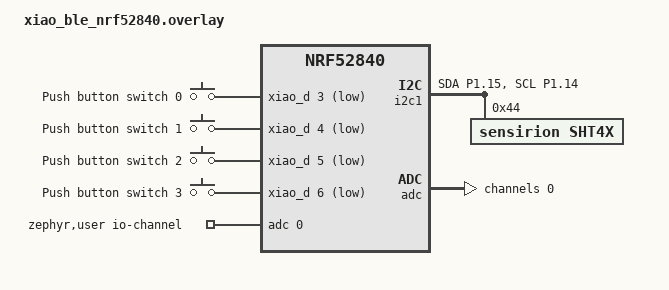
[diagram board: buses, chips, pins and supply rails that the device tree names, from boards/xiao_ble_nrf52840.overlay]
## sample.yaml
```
sample:
  description: Xiao Temperature Sensor sample
  name: Xiao Temperature Sensor
```

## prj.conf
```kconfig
#
# Copyright (c) 2021 Nordic Semiconductor ASA
#
# SPDX-License-Identifier: LicenseRef-Nordic-5-Clause
#

# This sample uses Kconfig.defaults to set options common for all
# samples. This file should contain only options specific for this sample
# or overrides of default values.

# Enable CHIP
CONFIG_CHIP=y
CONFIG_CHIP_PROJECT_CONFIG="src/chip_project_config.h"
CONFIG_CHIP_DEVICE_PRODUCT_NAME="Xiao Temperature Sensor"

# Configure ZAP file name
CONFIG_NCS_SAMPLE_MATTER_ZAP_FILE_PATH="${APPLICATION_CONFIG_DIR}/src/default_zap/template.zap"

# 32768 == 0x8000 (example Product ID added temporaly,
# but it must be changed with proper PID from the list:
# https://github.com/project-chip/connectedhomeip/blob/482e6fd03196a6de45465a90003947ef4b86e0b1/docs/examples/discussion/PID_allocation_for_example_apps.md)
CONFIG_CHIP_DEVICE_PRODUCT_ID=32768
CONFIG_STD_CPP17=y

# Enable Matter pairing automatically on application start.
CONFIG_CHIP_ENABLE_PAIRING_AUTOSTART=y

# Enable Matter extended announcement and increase duration to 1 hour.
CONFIG_CHIP_BLE_EXT_ADVERTISING=y
CONFIG_CHIP_BLE_ADVERTISING_DURATION=60

# Add support for LEDs and buttons on Nordic development kits
CONFIG_DK_LIBRARY=y

# Bluetooth Low Energy configuration
CONFIG_BT_DEVICE_NAME="MatterTemplate"

# Enable system reset on fatal error
CONFIG_RESET_ON_FATAL_ERROR=y

# Disable all debug features
CONFIG_USE_SEGGER_RTT=n
CONFIG_SHELL=n
CONFIG_OPENTHREAD_SHELL=n
CONFIG_CHIP_LIB_SHELL=n
CONFIG_CONSOLE=n
CONFIG_UART_CONSOLE=n
CONFIG_SERIAL=n
CONFIG_LOG=n
CONFIG_LOG_MODE_MINIMAL=n
CONFIG_ASSERT_VERBOSE=n
CONFIG_ASSERT_NO_FILE_INFO=y
CONFIG_PRINTK=n
CONFIG_PRINTK_SYNC=n
CONFIG_THREAD_NAME=n
CONFIG_BOOT_BANNER=n

# Disable NFC onboarding
CONFIG_CHIP_NFC_ONBOARDING_PAYLOAD=n

# Enable Factory Data feature
CONFIG_CHIP_FACTORY_DATA=y
CONFIG_CHIP_FACTORY_DATA_BUILD=y

# Enable Watchdog
CONFIG_NCS_SAMPLE_MATTER_WATCHDOG=y

# Enable LTO to decrease the flash usage.
CONFIG_LTO=y
CONFIG_ISR_TABLES_LOCAL_DECLARATION=y

# Enable I2C and Sensor APIs
CONFIG_I2C=y
CONFIG_SENSOR=y

# Driver for SHT4X
CONFIG_SHT4X=y

# ADC for measuring the battery (supply) voltage
CONFIG_ADC=y

# Persistent Subscriptions
CONFIG_CHIP_PERSISTENT_SUBSCRIPTIONS=y

# Status LED: blue LED blinks only while commissioning, off otherwise (see AppTask::UpdateStatusLED)
CONFIG_NCS_SAMPLE_MATTER_LEDS=y

# Configure Power Management
CONFIG_PM_DEVICE=y
CONFIG_RAM_POWER_DOWN_LIBRARY=y
CONFIG_POWEROFF=y

# Settings for ICD with LIT
CONFIG_OPENTHREAD_MTD=y
CONFIG_OPENTHREAD_NORDIC_LIBRARY_MTD=y

CONFIG_CHIP_ENABLE_ICD_SUPPORT=y
CONFIG_CHIP_ICD_LIT_SUPPORT=y

CONFIG_CHIP_ICD_IDLE_MODE_DURATION=900
CONFIG_CHIP_ICD_SLOW_POLL_INTERVAL=300000
CONFIG_CHIP_ICD_ACTIVE_MODE_DURATION=500
CONFIG_CHIP_ICD_ACTIVE_MODE_THRESHOLD=10000
CONFIG_CHIP_ICD_FAST_POLLING_INTERVAL=1000

CONFIG_CHIP_ICD_CLIENTS_PER_FABRIC=2
```

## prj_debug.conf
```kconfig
#
# Copyright (c) 2021 Nordic Semiconductor ASA
#
# SPDX-License-Identifier: LicenseRef-Nordic-5-Clause
#

# This sample uses Kconfig.defaults to set options common for all
# samples. This file should contain only options specific for this sample
# or overrides of default values.

# Enable CHIP
CONFIG_CHIP=y
CONFIG_CHIP_PROJECT_CONFIG="src/chip_project_config.h"
CONFIG_CHIP_DEVICE_PRODUCT_NAME="Xiao Temperature Sensor"

# Configure ZAP file name
CONFIG_NCS_SAMPLE_MATTER_ZAP_FILE_PATH="${APPLICATION_CONFIG_DIR}/src/default_zap/template.zap"

# 32768 == 0x8000 (example Product ID added temporaly,
# but it must be changed with proper PID from the list:
# https://github.com/project-chip/connectedhomeip/blob/482e6fd03196a6de45465a90003947ef4b86e0b1/docs/examples/discussion/PID_allocation_for_example_apps.md)
CONFIG_CHIP_DEVICE_PRODUCT_ID=32768
CONFIG_STD_CPP17=y

# Enable Matter pairing automatically on application start.
CONFIG_CHIP_ENABLE_PAIRING_AUTOSTART=y

# Enable Matter extended announcement and increase duration to 1 hour.
CONFIG_CHIP_BLE_EXT_ADVERTISING=y
CONFIG_CHIP_BLE_ADVERTISING_DURATION=60

# Add support for LEDs and buttons on Nordic development kits
CONFIG_DK_LIBRARY=y

# Bluetooth Low Energy configuration
CONFIG_BT_DEVICE_NAME="MatterTemplate"

# Other settings
CONFIG_THREAD_NAME=y
CONFIG_MPU_STACK_GUARD=y
CONFIG_RESET_ON_FATAL_ERROR=n
CONFIG_CHIP_LIB_SHELL=y
CONFIG_NCS_SAMPLE_MATTER_TEST_SHELL=y

# Disable NFC onboarding
CONFIG_CHIP_NFC_ONBOARDING_PAYLOAD=n

# Reduce application size
CONFIG_USE_SEGGER_RTT=n

# Enable Factory Data feature
CONFIG_CHIP_FACTORY_DATA=y
CONFIG_CHIP_FACTORY_DATA_BUILD=y

# Enable I2C and Sensor APIs
CONFIG_I2C=y
CONFIG_SENSOR=y

# Driver for SHT4X
CONFIG_SHT4X=y

# ADC for measuring the battery (supply) voltage
CONFIG_ADC=y

# Persistent Subscriptions
CONFIG_CHIP_PERSISTENT_SUBSCRIPTIONS=y
```

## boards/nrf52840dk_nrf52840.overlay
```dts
/*
 * Copyright (c) 2021 Nordic Semiconductor ASA
 *
 * SPDX-License-Identifier: LicenseRef-Nordic-5-Clause
 */

/ {
	chosen {
		nordic,pm-ext-flash = &mx25r64;
	};
};

/* Disable unused peripherals to reduce power consumption */
&adc {
	status = "disabled";
};
&uart1 {
	status = "disabled";
};
&i2c0 {
	status = "disabled";
};
&pwm0 {
	status = "disabled";
};
&spi1 {
	status = "disabled";
};
&spi3 {
	status = "disabled";
};
&usbd {
	status = "disabled";
};

&i2c1 {
	status = "okay";
	compatible = "nordic,nrf-twim";

	sht4x@44 {
		compatible = "sensirion,sht4x";
		repeatability = <2>;
		reg = <0x44>;
	};
};
```

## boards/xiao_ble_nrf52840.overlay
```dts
/ {

	buttons {

		compatible = "gpio-keys";

		button0: button_0 {
			gpios = <&xiao_d 3 (GPIO_PULL_UP | GPIO_ACTIVE_LOW)>;
			label = "Push button switch 0";
			zephyr,code = <INPUT_KEY_0>;

		};

		button1: button_1 {
			gpios = <&xiao_d 4 (GPIO_PULL_UP | GPIO_ACTIVE_LOW)>;
			label = "Push button switch 1";
			zephyr,code = <INPUT_KEY_1>;
		};

		button2: button_2 {
			gpios = <&xiao_d 5 (GPIO_PULL_UP | GPIO_ACTIVE_LOW)>;
			label = "Push button switch 2";
			zephyr,code = <INPUT_KEY_2>;
		};

		button3: button_3 {
			gpios = <&xiao_d 6 (GPIO_PULL_UP | GPIO_ACTIVE_LOW)>;
			label = "Push button switch 3";
			zephyr,code = <INPUT_KEY_3>;
		};

	};
};

&spi2 {
	status = "disabled";
};

/* Change the pin mappings on the xiao */
&pinctrl {
	i2c1_default: i2c1_default {
		group1 {
			psels = <NRF_PSEL(TWIM_SDA, 1, 15)>,
				<NRF_PSEL(TWIM_SCL, 1, 14)>;
		};
	};

	i2c1_sleep: i2c1_sleep {
		group1 {
			psels = <NRF_PSEL(TWIM_SDA, 1, 15)>,
				<NRF_PSEL(TWIM_SCL, 1, 14)>;
			low-power-enable;
		};
	};
};

&i2c1 {
	status = "okay";
	compatible = "nordic,nrf-twim";

    pinctrl-0 = <&i2c1_default>;
    pinctrl-1 = <&i2c1_sleep>;
    pinctrl-names = "default", "sleep";

	sht4x@44 {
		compatible = "sensirion,sht4x";
		repeatability = <2>;
		reg = <0x44>;
	};
};

/* Battery voltage: the AA batteries feed the 3V3 pin directly, so the
 * nRF52840's own supply voltage (VDD) is the battery voltage. It is measured
 * internally by the SAADC, no pins are used.
 */
/ {
	zephyr,user {
		io-channels = <&adc 0>;
	};
};

&adc {
	#address-cells = <1>;
	#size-cells = <0>;

	channel@0 {
		reg = <0>;
		zephyr,gain = "ADC_GAIN_1_6";
		zephyr,reference = "ADC_REF_INTERNAL";
		zephyr,acquisition-time = <ADC_ACQ_TIME_DEFAULT>;
		zephyr,input-positive = <NRF_SAADC_VDD>;
		zephyr,resolution = <12>;
	};
};
```

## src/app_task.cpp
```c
/*
 * Copyright (c) 2021 Nordic Semiconductor ASA
 *
 * SPDX-License-Identifier: LicenseRef-Nordic-5-Clause
 */

#include "app_task.h"

#include "app/matter_init.h"
#include "app/task_executor.h"
#include "board/board.h"
#include "lib/core/CHIPError.h"
#include "lib/support/CodeUtils.h"

#include <setup_payload/OnboardingCodesUtil.h>

#include <zephyr/logging/log.h>
#include <zephyr/drivers/adc.h>
#include <zephyr/drivers/sensor.h>

#include <hal/nrf_power.h>

#include <app-common/zap-generated/attributes/Accessors.h>
#include <app/clusters/power-source-server/power-source-server.h>

#include <cmath>
#include <iterator>

LOG_MODULE_DECLARE(app, CONFIG_CHIP_APP_LOG_LEVEL);

using namespace ::chip;
using namespace ::chip::app;
using namespace ::chip::DeviceLayer;

namespace {
	// Set the measurement interval.
	constexpr size_t kMeasurementsIntervalMs = 300000; // 5 Minutes

	// Endpoint and attribute constants for Temperature Measurement
	constexpr uint8_t kTemperatureMeasurementEndpointId = 1;
	constexpr int16_t kTemperatureMeasurementAttributeMaxValue = 0x7fff;
	constexpr int16_t kTemperatureMeasurementAttributeMinValue = 0x954d;
	constexpr int16_t kTemperatureMeasurementAttributeInvalidValue = 0x8000;

	// Endpoint and attribute constants for Relative Humidity Measurement
	constexpr uint8_t kHumidityMeasurementEndpointId = 2;
	constexpr uint16_t kHumidityMeasurementAttributeMaxValue = 10000; // 100.00%
	constexpr uint16_t kHumidityMeasurementAttributeMinValue = 0; // 0.00%
	constexpr uint16_t kHumidityMeasurementAttributeInvalidValue = 0xffff; // Invalid value

	k_timer sMeasurementsTimer;
	bool sIsMeasurementTimerStarted = false;

	const device *sht4x_dev = DEVICE_DT_GET_ONE(sensirion_sht4x);

#ifdef CONFIG_NCS_SAMPLE_MATTER_LEDS
	// Status LED, only lit while commissioning to save battery. LED3 is the Xiao's blue LED.
	constexpr Nrf::DeviceLeds kStatusLed = Nrf::DeviceLeds::LED3;
	// Short flash once a second while advertising and waiting to be commissioned.
	constexpr uint32_t kAdvertisingLedOnMs = 50;
	constexpr uint32_t kAdvertisingLedOffMs = 950;
	// Fast even blink while a commissioner is connected over Bluetooth.
	constexpr uint32_t kBleConnectedLedOnMs = 100;
	constexpr uint32_t kBleConnectedLedOffMs = 100;
#endif

	// Power Source cluster, reporting the 2 x AA lithium batteries.
	constexpr EndpointId kPowerSourceEndpointId = 0;
	constexpr uint8_t kBatteryQuantity = 2;
	constexpr char kPowerSourceDescription[] = "Battery";
	constexpr char kBatteryReplacementDescription[] = "2 x AA lithium (Li-FeS2)";

	// Battery pack voltages at which the charge level drops to Warning and Critical.
	constexpr int32_t kBatteryWarningMv = 2800;
	constexpr int32_t kBatteryCriticalMv = 2400;

	// Approximate state of charge for 2 x AA lithium (Li-FeS2) cells in series, under light load.
	// The discharge curve is flat for most of the battery life and then falls quickly, so this is
	// only a rough guide. Points must be in descending voltage order.
	struct BatteryLevelPoint {
		int32_t millivolts;
		uint8_t percent;
	};
	constexpr BatteryLevelPoint kBatteryLevelCurve[] = {
		{ 3500, 100 }, { 3300, 80 }, { 3000, 40 }, { 2800, 20 }, { 2400, 5 }, { 2200, 0 },
	};

	// The batteries feed the 3V3 rail directly, so the nRF52840 supply voltage (VDD) is the
	// battery voltage. Boards without the ADC channel in their overlay don't measure it.
#if DT_NODE_HAS_PROP(DT_PATH(zephyr_user), io_channels)
#define BATTERY_ADC_AVAILABLE 1
	const adc_dt_spec kBatteryAdc = ADC_DT_SPEC_GET_BY_IDX(DT_PATH(zephyr_user), 0);
	bool sBatteryAdcReady = false;

	int ReadBatteryMillivolts(int32_t &millivolts)
	{
		int16_t sample = 0;
		adc_sequence sequence = {};
		sequence.buffer = &sample;
		sequence.buffer_size = sizeof(sample);

		int rc = adc_sequence_init_dt(&kBatteryAdc, &sequence);
		if (rc == 0) {
			rc = adc_read_dt(&kBatteryAdc, &sequence);
		}
		if (rc != 0) {
			return rc;
		}

		// Single-ended readings can dip slightly below zero.
		millivolts = sample < 0 ? 0 : sample;
		return adc_raw_to_millivolts_dt(&kBatteryAdc, &millivolts);
	}
#endif

	uint8_t BatteryPercentFromMillivolts(int32_t millivolts)
	{
		if (millivolts >= kBatteryLevelCurve[0].millivolts) {
			return kBatteryLevelCurve[0].percent;
		}

		// Interpolate linearly between the two surrounding points of the curve.
		for (size_t i = 1; i < std::size(kBatteryLevelCurve); i++) {
			const BatteryLevelPoint &high = kBatteryLevelCurve[i - 1];
			const BatteryLevelPoint &low = kBatteryLevelCurve[i];
			if (millivolts >= low.millivolts) {
				return static_cast<uint8_t>(low.percent + (millivolts - low.millivolts) * (high.percent - low.percent) /
								  (high.millivolts - low.millivolts));
			}
		}
		return 0;
	}

	// When USB is plugged in, the Xiao's regulator powers the 3V3 rail, so VDD no longer tells
	// us anything about the batteries.
	bool IsUsbPowered()
	{
		return nrf_power_usbregstatus_vbusdet_get(NRF_POWER);
	}

	void LogIfFailed(Protocols::InteractionModel::Status status, const char *attributeName)
	{
		if (status != Protocols::InteractionModel::Status::Success) {
			LOG_ERR("Updating %s failed: %x", attributeName, to_underlying(status));
		}
	}

} //namespace

void AppTask::MatterEventHandler(const ChipDeviceEvent *event, intptr_t arg)
{
	// On initial commissioning, start the timer.
	// We use a flag to ensure this only happens once per boot.
	if (event->Type == DeviceEventType::kCommissioningComplete && !sIsMeasurementTimerStarted) {
		LOG_INF("Commissioning complete, starting measurements.");

		// Take an immediate reading by calling UpdateClustersState directly.
		// This is posted to the event queue to ensure it runs in the correct context.
		Nrf::PostTask([] { Instance().UpdateClustersState(); });

		// Start the periodic timer. K_NO_WAIT is NOT used here because we just
		// triggered the first reading manually. The timer will fire after the first interval.
		k_timer_start(&sMeasurementsTimer, K_MSEC(kMeasurementsIntervalMs), K_MSEC(kMeasurementsIntervalMs));
		sIsMeasurementTimerStarted = true;
	}
}

#ifdef CONFIG_NCS_SAMPLE_MATTER_LEDS
void AppTask::UpdateStatusLED()
{
	// Replaces the default Nordic status LED handler, which keeps the LED solid on once
	// commissioned and would drain the battery. Here the LED is off unless commissioning.
	Nrf::LEDWidget &statusLed = Nrf::GetBoard().GetLED(kStatusLed);
	statusLed.Set(false);

	switch (Nrf::GetBoard().GetDeviceState()) {
	case Nrf::DeviceState::DeviceAdvertisingBLE:
		statusLed.Blink(kAdvertisingLedOnMs, kAdvertisingLedOffMs);
		break;
	case Nrf::DeviceState::DeviceConnectedBLE:
		statusLed.Blink(kBleConnectedLedOnMs, kBleConnectedLedOffMs);
		break;
	default:
		break;
	}
}
#endif

void AppTask::UpdateTemperatureClusterState()
{
	struct sensor_value sTemperature;
	Protocols::InteractionModel::Status status;
	int result = sensor_channel_get(sht4x_dev, SENSOR_CHAN_AMBIENT_TEMP, &sTemperature);

	if (result == 0) {
		// The MeasuredValue attribute is in 1/100ths of a degree Celsius.
		// First, get the temperature in 1/100ths of a degree.
		int32_t temp_in_hundredths = sTemperature.val1 * 100 + sTemperature.val2 / 10000;
		int16_t newValue;

		// Round to the nearest half degree (i.e., nearest 50 hundredths).
		// This logic correctly handles rounding for both positive and negative temperatures.
		if (temp_in_hundredths >= 0) {
			newValue = static_cast<int16_t>(((temp_in_hundredths + 25) / 50) * 50);
		} else {
			newValue = static_cast<int16_t>(((temp_in_hundredths - 25) / 50) * 50);
		}

		if (newValue > kTemperatureMeasurementAttributeMaxValue || newValue < kTemperatureMeasurementAttributeMinValue) {
			newValue = kTemperatureMeasurementAttributeInvalidValue;
		}
		LOG_DBG("New temperature measurement: %d.%06d *C, rounded attribute value: %d", sTemperature.val1,
			sTemperature.val2, newValue);

		status = Clusters::TemperatureMeasurement::Attributes::MeasuredValue::Set(kTemperatureMeasurementEndpointId, newValue);
		if (status != Protocols::InteractionModel::Status::Success) {
			LOG_ERR("Updating temperature measurement failed: %x", to_underlying(status));
		}
	} else {
		LOG_ERR("Getting temperature measurement data from BME280 failed with: %d", result);
	}
}

void AppTask::UpdateHumidityClusterState()
{
	struct sensor_value sHumidity;
	Protocols::InteractionModel::Status status;
	int result = sensor_channel_get(sht4x_dev, SENSOR_CHAN_HUMIDITY, &sHumidity);

	if (result == 0) {
		// Round the humidity reading to the nearest whole percentage.
		// The sensor_value struct provides the integer part in val1 and the fractional part
		// in val2 (in millionths). We round up if the fractional part is >= 0.5 (500,000 millionths).
		int32_t rounded_humidity_percent = sHumidity.val1;
		if (sHumidity.val2 >= 500000) {
			rounded_humidity_percent++;
		}

		// The Relative Humidity MeasuredValue attribute is in 1/100ths of a percent.
		uint16_t newValue = static_cast<uint16_t>(rounded_humidity_percent * 100);

		LOG_DBG("New humidity measurement: %d.%06d %%RH, rounded to: %d %%, attribute value: %u", sHumidity.val1,
			sHumidity.val2, rounded_humidity_percent, newValue);

		// Validate the reading is within the defined range for the attribute.
		if (newValue > kHumidityMeasurementAttributeMaxValue || newValue < kHumidityMeasurementAttributeMinValue) {
			newValue = kHumidityMeasurementAttributeInvalidValue;
			LOG_WRN("Humidity value out of range, setting to invalid.");
		}

		status = Clusters::RelativeHumidityMeasurement::Attributes::MeasuredValue::Set(kHumidityMeasurementEndpointId, newValue);
		if (status != Protocols::InteractionModel::Status::Success) {
			LOG_ERR("Updating humidity measurement failed: %x", to_underlying(status));
		}
	} else {
		LOG_ERR("Getting humidity measurement data from BME280 failed with: %d", result);
	}
}
void AppTask::InitPowerSourceCluster()
{
	namespace PowerSource = Clusters::PowerSource;
	namespace Attributes = Clusters::PowerSource::Attributes;

	// Fixed details of the batteries, which don't change at runtime.
	LogIfFailed(Attributes::Status::Set(kPowerSourceEndpointId, PowerSource::PowerSourceStatusEnum::kActive), "Status");
	LogIfFailed(Attributes::Order::Set(kPowerSourceEndpointId, 0), "Order");
	LogIfFailed(Attributes::Description::Set(kPowerSourceEndpointId, CharSpan::fromCharString(kPowerSourceDescription)),
		    "Description");
	LogIfFailed(Attributes::BatReplaceability::Set(kPowerSourceEndpointId, PowerSource::BatReplaceabilityEnum::kUserReplaceable),
		    "BatReplaceability");
	LogIfFailed(Attributes::BatReplacementDescription::Set(kPowerSourceEndpointId,
						   CharSpan::fromCharString(kBatteryReplacementDescription)),
		    "BatReplacementDescription");
	LogIfFailed(Attributes::BatCommonDesignation::Set(kPowerSourceEndpointId, PowerSource::BatCommonDesignationEnum::kAa),
		    "BatCommonDesignation");
	LogIfFailed(Attributes::BatApprovedChemistry::Set(kPowerSourceEndpointId,
					      PowerSource::BatApprovedChemistryEnum::kLithiumIronDisulfide),
		    "BatApprovedChemistry");
	LogIfFailed(Attributes::BatQuantity::Set(kPowerSourceEndpointId, kBatteryQuantity), "BatQuantity");

	// Tell controllers which endpoints this battery powers. Without this the EndpointList is empty and
	// controllers don't link the battery to the sensor endpoints, so it isn't shown on the device card.
	EndpointId poweredEndpoints[] = { kPowerSourceEndpointId, kTemperatureMeasurementEndpointId,
					  kHumidityMeasurementEndpointId };
	const CHIP_ERROR err = Clusters::PowerSourceServer::Instance().SetEndpointList(kPowerSourceEndpointId,
										 Span<EndpointId>(poweredEndpoints));
	if (err != CHIP_NO_ERROR) {
		LOG_ERR("Setting power source endpoint list failed: %" CHIP_ERROR_FORMAT, err.Format());
	}

#ifdef BATTERY_ADC_AVAILABLE
	if (!adc_is_ready_dt(&kBatteryAdc)) {
		LOG_ERR("Battery ADC device not ready");
	} else {
		const int rc = adc_channel_setup_dt(&kBatteryAdc);
		if (rc != 0) {
			LOG_ERR("Setting up battery ADC channel failed with: %d", rc);
		}
		sBatteryAdcReady = (rc == 0);
	}
#endif
}

void AppTask::UpdateBatteryClusterState()
{
	namespace PowerSource = Clusters::PowerSource;
	namespace Attributes = Clusters::PowerSource::Attributes;

	int32_t millivolts = 0;
	bool measured = false;

	if (IsUsbPowered()) {
		LOG_DBG("USB powered, battery voltage not measured");
	} else {
#ifdef BATTERY_ADC_AVAILABLE
		const int rc = sBatteryAdcReady ? ReadBatteryMillivolts(millivolts) : -ENODEV;
		if (rc == 0) {
			measured = true;
		} else {
			LOG_ERR("Reading battery voltage failed with: %d", rc);
		}
#endif
	}

	if (!measured) {
		// Unknown battery level: report null rather than a misleading value, and don't raise
		// low battery warnings.
		LogIfFailed(Attributes::BatVoltage::SetNull(kPowerSourceEndpointId), "BatVoltage");
		LogIfFailed(Attributes::BatPercentRemaining::SetNull(kPowerSourceEndpointId), "BatPercentRemaining");
		LogIfFailed(Attributes::BatChargeLevel::Set(kPowerSourceEndpointId, PowerSource::BatChargeLevelEnum::kOk), "BatChargeLevel");
		LogIfFailed(Attributes::BatReplacementNeeded::Set(kPowerSourceEndpointId, false), "BatReplacementNeeded");
		return;
	}

	const uint8_t percent = BatteryPercentFromMillivolts(millivolts);

	PowerSource::BatChargeLevelEnum chargeLevel = PowerSource::BatChargeLevelEnum::kOk;
	if (millivolts < kBatteryCriticalMv) {
		chargeLevel = PowerSource::BatChargeLevelEnum::kCritical;
	} else if (millivolts < kBatteryWarningMv) {
		chargeLevel = PowerSource::BatChargeLevelEnum::kWarning;
	}

	LOG_DBG("New battery measurement: %d mV, %u %%, charge level: %u", millivolts, percent,
		to_underlying(chargeLevel));

	LogIfFailed(Attributes::BatVoltage::Set(kPowerSourceEndpointId, static_cast<uint32_t>(millivolts)), "BatVoltage");
	// BatPercentRemaining is in half percent units (0-200).
	LogIfFailed(Attributes::BatPercentRemaining::Set(kPowerSourceEndpointId, static_cast<uint8_t>(percent * 2)),
		    "BatPercentRemaining");
	LogIfFailed(Attributes::BatChargeLevel::Set(kPowerSourceEndpointId, chargeLevel), "BatChargeLevel");
	LogIfFailed(Attributes::BatReplacementNeeded::Set(kPowerSourceEndpointId,
					      chargeLevel != PowerSource::BatChargeLevelEnum::kOk),
		    "BatReplacementNeeded");
}

void AppTask::MeasurementsTimerHandler()
{
	Instance().UpdateClustersState();
}

void AppTask::UpdateClustersState()
{
	// Fetch a new sample from the sensor. This updates all channels.
	const int result_bme = sensor_sample_fetch(sht4x_dev);

	// This runs on the application thread, so hold the Matter stack lock while updating attributes.
	DeviceLayer::StackLock lock;

	if (result_bme == 0) {
		// Update both clusters with the new data.
		UpdateTemperatureClusterState();
		UpdateHumidityClusterState();
	} else {
		LOG_ERR("Fetching data from SHT4X sensor failed with: %d", result_bme);
	}
	UpdateBatteryClusterState();
}

CHIP_ERROR AppTask::Init()
{
	/* Initialize Matter stack */
	ReturnErrorOnFailure(Nrf::Matter::PrepareServer());

#ifdef CONFIG_NCS_SAMPLE_MATTER_LEDS
	const bool boardInitialized = Nrf::GetBoard().Init(nullptr, UpdateStatusLED);
#else
	const bool boardInitialized = Nrf::GetBoard().Init();
#endif
	if (!boardInitialized) {
		LOG_ERR("User interface initialization failed.");
		return CHIP_ERROR_INCORRECT_STATE;
	}

	/* Register Matter event handler that controls the connectivity status LED based on the captured Matter network
	 * state. */
	ReturnErrorOnFailure(Nrf::Matter::RegisterEventHandler(Nrf::Board::DefaultMatterEventHandler, 0));

	ReturnErrorOnFailure(Nrf::Matter::RegisterEventHandler(MatterEventHandler, 0));

	if (!device_is_ready(sht4x_dev)) {
		LOG_ERR("SHT4X sensor device not ready");
		return chip::System::MapErrorZephyr(-ENODEV);
	}

	k_timer_init(&sMeasurementsTimer, [](k_timer *) { Nrf::PostTask([] { MeasurementsTimerHandler(); }); }, nullptr);

	ReturnErrorOnFailure(Nrf::Matter::StartServer());

	{
		DeviceLayer::StackLock lock;
		InitPowerSourceCluster();
	}

	// On reboot, if the device is already commissioned, start the timer directly.
	if (chip::Server::GetInstance().GetFabricTable().FabricCount() > 0 && !sIsMeasurementTimerStarted) {
		LOG_INF("Device is already commissioned on boot, starting measurements.");
		// Use K_NO_WAIT to get an immediate reading on reboot.
		k_timer_start(&sMeasurementsTimer, K_NO_WAIT, K_MSEC(kMeasurementsIntervalMs));
		sIsMeasurementTimerStarted = true;
	}

	return CHIP_NO_ERROR;
}

CHIP_ERROR AppTask::StartApp()
{
	ReturnErrorOnFailure(Init());

	while (true) {
		Nrf::DispatchNextTask();
	}

	return CHIP_NO_ERROR;
}
```

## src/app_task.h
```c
/*
 * Copyright (c) 2021 Nordic Semiconductor ASA
 *
 * SPDX-License-Identifier: LicenseRef-Nordic-5-Clause
 */

#pragma once

#include <platform/CHIPDeviceLayer.h>

struct k_timer;

class AppTask {
public:
	static AppTask &Instance()
	{
		static AppTask sAppTask;
		return sAppTask;
	};

	CHIP_ERROR StartApp();

	void UpdateClustersState();

private:
	CHIP_ERROR Init();

	static void MatterEventHandler(const chip::DeviceLayer::ChipDeviceEvent *event, intptr_t arg);

	static void MeasurementsTimerHandler();

#ifdef CONFIG_NCS_SAMPLE_MATTER_LEDS
	static void UpdateStatusLED();
#endif

	void UpdateTemperatureClusterState();

	void UpdateHumidityClusterState();
	void InitPowerSourceCluster();

	void UpdateBatteryClusterState();

};
```
